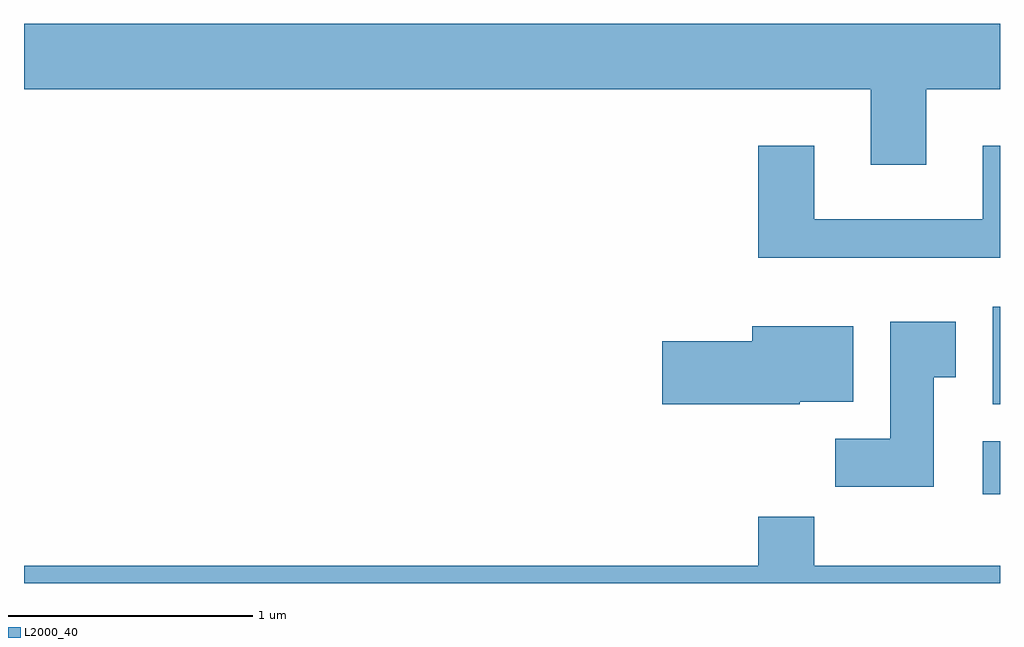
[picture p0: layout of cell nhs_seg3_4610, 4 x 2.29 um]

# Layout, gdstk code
import gdstk
lib = gdstk.Library(unit=1e-6, precision=1e-09)
def R(c, l, rs):  # rectangles x0, y0, x1, y1
    for r in rs: c.add(gdstk.rectangle(r[:2], r[2:], *l))
def P(c, l, *ps):  # polygons
    for p in ps: c.add(gdstk.Polygon(p, *l))
L2000_40 = (2000, 40)

nhs_seg3_4610 = lib.new_cell('nhs_seg3_4610')
R(nhs_seg3_4610, L2000_40, [(323.541,1224.256,323.611,1224.474), (323.581,1224.626,323.611,1225.024)])
P(nhs_seg3_4610, L2000_40, [(319.611,1225.916),(323.081,1225.916),(323.081,1225.606),(323.309,1225.606),(323.309,1225.916),(323.611,1225.916),(323.611,1226.184),(319.611,1226.184)],
  [(323.611,1225.684),(323.541,1225.684),(323.541,1225.384),(322.849,1225.384),(322.849,1225.684),(322.621,1225.684),(322.621,1225.226),(323.611,1225.226)],
  [(323.339,1224.736),(323.429,1224.736),(323.429,1224.964),(323.161,1224.964),(323.161,1224.484),(322.936,1224.484),(322.936,1224.286),(323.339,1224.286)],
  [(322.79,1224.636),(323.009,1224.636),(323.009,1224.944),(322.596,1224.944),(322.596,1224.884),(322.226,1224.884),(322.226,1224.626),(322.79,1224.626)],
  [(323.611,1223.964),(322.849,1223.964),(322.849,1224.164),(322.621,1224.164),(322.621,1223.964),(319.611,1223.964),(319.611,1223.892),(323.611,1223.892)])

lib.write_gds('nhs_seg3_4610.gds')
